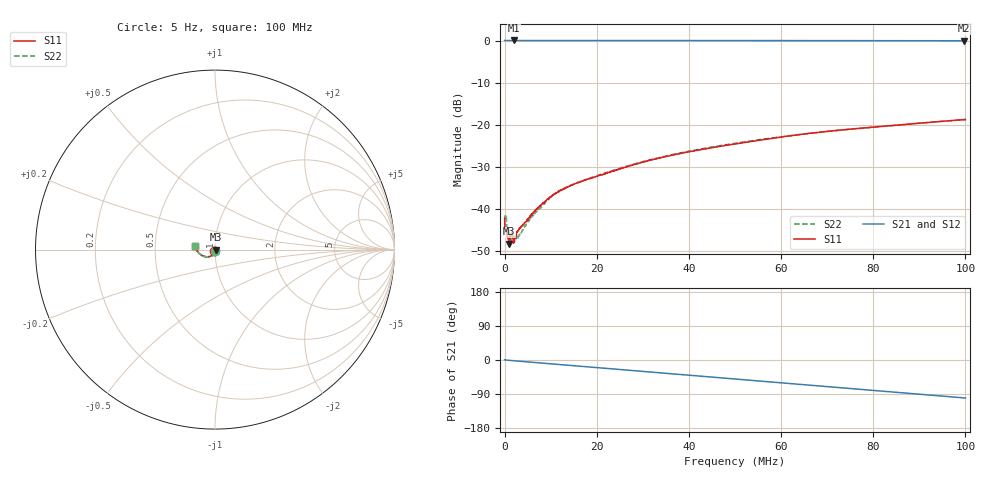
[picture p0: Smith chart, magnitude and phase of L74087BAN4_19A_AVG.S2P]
!Agilent Technologies,E5061B,MY49102235,A.02.00
!Date: Tue Jul 11 16:22:57 2023
!Data & Calibration Information:
!Freq	S11:SOLT2(ON)	S21:SOLT2(ON)	S12:SOLT2(ON)	S22:SOLT2(ON)
# Hz S RI R 50
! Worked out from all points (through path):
!   1600 points, 5 Hz to 100 MHz, reference 50 ohm
!   highest |S21| = 0.02 dB at 1.939 MHz (marker M1); lowest = -0.1 dB at 99.75 MHz (marker M2)
!   group delay of S21, straight-line fit = 2.79 ns
!   lowest |S11| = -48.3 dB at 1.001 MHz (marker M3), VSWR 1.01, Z = 50.4 - j0.0796 ohm
!   |S11| at or under -10 dB: start of sweep to end of sweep
!   |S22| runs from -48.9 to -18.8 dB; largest |S21 - S12| = 0.0025
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5  -0.0052 -0.00564  1.001 0.00807  1 0.0103  -0.00153 -0.00755
437778.6  0.00513 -0.00059  1.001 -0.0053  1.001 -0.00593  0.00662 -0.00226
625395.8  0.00509 -0.00065  1.002 -0.0104  1.002 -0.0101  0.00611 -0.00101
1000630  0.00377 -0.00079  1.001 -0.0163  1.001 -0.016  0.00515 -0.0017
1563482  0.00437 -0.00292  1.001 -0.0261  1.001 -0.0255  0.00316 -0.00348
1938717  0.00313 -0.00234  1.002 -0.0335  1.002 -0.033  0.00342 -0.00208
2376490  0.00331 -0.00302  0.9999 -0.0412  1 -0.0415  0.00394 -0.00268
3252037  0.00425 -0.00421  0.9993 -0.0566  0.9993 -0.0566  0.00315 -0.0037
4690436  0.00374 -0.00599  0.9976 -0.0818  0.9975 -0.0819  0.00342 -0.00565
6003757  0.00333 -0.0079  0.9954 -0.1046  0.9956 -0.1045  0.00285 -0.0077
9505946  0.00152 -0.0131  0.9871 -0.1657  0.9873 -0.1655  0.000814 -0.013
1.163227e7  -1.7e-05 -0.016  0.9803 -0.2022  0.9802 -0.202  -0.00104 -0.016
1.669794e7  -0.00383 -0.0209  0.958 -0.2882  0.958 -0.288  -0.00432 -0.0209
2.582865e7  -0.0111 -0.0286  0.9001 -0.437  0.8999 -0.4369  -0.00911 -0.03
3.333334e7  -0.0199 -0.0346  0.8345 -0.551  0.8345 -0.5508  -0.0187 -0.0358
5.003127e7  -0.0434 -0.0399  0.6397 -0.7676  0.6396 -0.7675  -0.0438 -0.041
6.672921e7  -0.0724 -0.0334  0.3906 -0.9179  0.3908 -0.9181  -0.0717 -0.0339
7.53596e7  -0.0856 -0.024  0.248 -0.9653  0.2481 -0.9654  -0.0851 -0.025
8.33646e7  -0.0962 -0.0116  0.1109 -0.9899  0.1108 -0.9901  -0.0958 -0.0136
9.155722e7  -0.1058 0.00332  -0.0318 -0.9945  -0.0319 -0.9946  -0.1059 0.00016
9.974984e7  -0.1133 0.02  -0.1733 -0.9786  -0.1732 -0.9789  -0.1132 0.0172
1e8  -0.1135 0.0205  -0.1776 -0.978  -0.1775 -0.9782  -0.1136 0.0178
